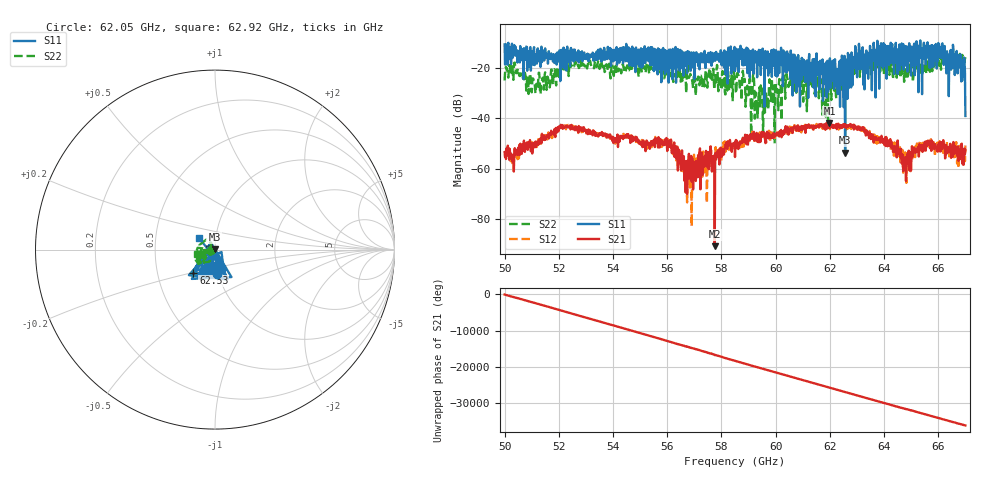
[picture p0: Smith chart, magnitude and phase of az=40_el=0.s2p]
!Created with skrf (http://scikit-rf.org).
# GHz S RI R 50.0
!freq ReS11 ImS11 ReS21 ImS21 ReS12 ImS12 ReS22 ImS22
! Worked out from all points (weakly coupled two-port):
!   1001 points, 50 GHz to 67 GHz, reference 50 ohm
!   highest |S21| = -41.81 dB at 61.98 GHz (marker M1); lowest = -91.0 dB at 57.75 GHz (marker M2)
!   lowest |S11| = -53.7 dB at 62.56 GHz (marker M3), VSWR 1.00, Z = 49.8 + j0.125 ohm
!   |S11| at or under -10 dB: 50.14 GHz to 63.62 GHz (13.48 GHz wide, 23.7 % of centre); 64.43 GHz to 64.93 GHz (492.4 MHz wide, 0.761 % of centre); 66.15 GHz to end of sweep (the widest 3 of 15)
!   |S22| runs from -50.0 to -14.2 dB; largest |S21 - S12| = 0.0025
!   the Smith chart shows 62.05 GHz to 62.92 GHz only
!   S11 on the Smith chart (normalised r, x): 62.05 GHz: 0.98, -0.27; 62.53 GHz: 0.76, -0.20; 62.92 GHz: 0.83, +0.11
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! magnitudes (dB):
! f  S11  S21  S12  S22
! 50 GHz  -10.4  -53.5  -54.6  -24.8
! 51.16 GHz  -14.6  -51.4  -50.3  -27.8
! 52.84 GHz  -14.5  -45.0  -45.5  -19.7
! 55.68 GHz  -13.7  -47.4  -48.1  -21.8
! 56.22 GHz  -14.1  -52.1  -54.4  -25.4
! 56.82 GHz  -18.2  -64.0  -61.5  -23.3
! 57.17 GHz  -15.2  -58.6  -57.0  -24.5
! 57.75 GHz  -13.9  -91.0  -58.8  -23.7
! 58.5 GHz  -21.1  -55.4  -52.0  -24.5
! 59.61 GHz  -13.2  -47.9  -48.1  -37.7
! 60.64 GHz  -14.5  -43.7  -44.0  -23.0
! 61.34 GHz  -25.3  -43.1  -43.5  -26.1
! 61.98 GHz  -18.4  -41.8  -42.7  -23.1
! 62.05 GHz  -17.2  -42.2  -43.8  -32.6
! 62.53 GHz  -15.0  -43.5  -43.3  -19.6
! 62.56 GHz  -53.7  -42.3  -43.4  -19.8
! 62.92 GHz  -18.9  -44.0  -43.0  -19.7
! 64.18 GHz  -18.5  -50.7  -49.2  -18.7
! 64.74 GHz  -15.4  -55.7  -55.0  -25.4
! 66.08 GHz  -15.6  -53.2  -50.3  -15.6
! 66.9 GHz  -16.8  -58.3  -53.0  -14.9
! 67 GHz  -39.0  -52.6  -50.8  -15.5
